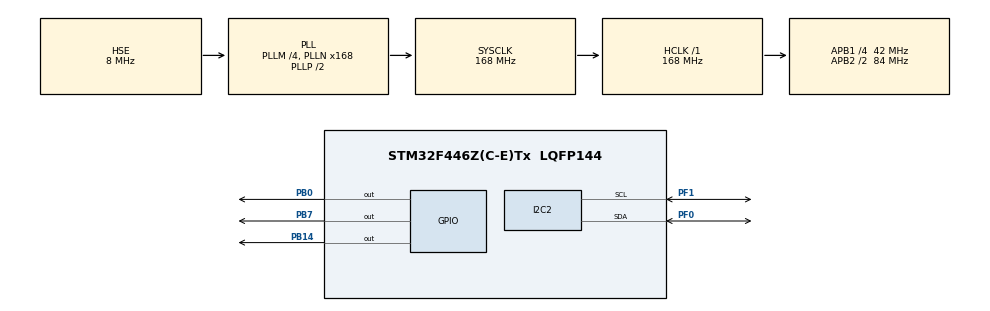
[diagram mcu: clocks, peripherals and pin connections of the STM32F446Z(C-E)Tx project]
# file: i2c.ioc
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I2C2.I2C_Mode=I2C_Standard
Mcu.Family=STM32F4
Mcu.Name=STM32F446Z(C-E)Tx
Mcu.Package=LQFP144
NVIC.PriorityGroup=NVIC_PRIORITYGROUP_4
NVIC.RCC_IRQn=true\:0\:0\:false\:false\:true\:true\:false
PB0.Signal=GPIO_Output
PB14.Signal=GPIO_Output
PB7.Signal=GPIO_Output
PF0.Mode=I2C
PF0.Signal=I2C2_SDA
PF1.Mode=I2C
PF1.Signal=I2C2_SCL
PH0-OSC_IN.Mode=HSE-External-Oscillator
PH0-OSC_IN.Signal=RCC_OSC_IN
PH1-OSC_OUT.Mode=HSE-External-Oscillator
PH1-OSC_OUT.Signal=RCC_OSC_OUT
ProjectManager.HeapSize=0x200
ProjectManager.StackSize=0x400
ProjectManager.TargetToolchain=Makefile
RCC.48MHZClocksFreq_Value=24000000
RCC.AHBFreq_Value=168000000
RCC.APB1CLKDivider=RCC_HCLK_DIV4
RCC.APB1Freq_Value=42000000
RCC.APB1TimFreq_Value=84000000
RCC.APB2CLKDivider=RCC_HCLK_DIV2
RCC.APB2Freq_Value=84000000
RCC.APB2TimFreq_Value=168000000
RCC.CortexFreq_Value=168000000
RCC.HCLKFreq_Value=168000000
RCC.HSE_VALUE=8000000
RCC.HSI_VALUE=16000000
RCC.PLLM=4
RCC.PLLMUL=RCC_PLL_MUL9
RCC.PLLN=168
RCC.PLLQ=7
RCC.PLLSourceVirtual=RCC_PLLSOURCE_HSE
RCC.PRESCALERUSB=RCC_USBCLKSOURCE_PLL_DIV1_5
RCC.SYSCLKFreq_VALUE=168000000
RCC.SYSCLKSource=RCC_SYSCLKSOURCE_PLLCLK
RCC.SYSCLKSourceVirtual=RCC_SYSCLKSOURCE_PLLCLK
RCC.USBFreq_Value=48000000
RCC.VCOOutputFreq_Value=336000000
board=NUCLEO-F446ZE

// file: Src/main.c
/* USER CODE BEGIN Header */
/**
  ******************************************************************************
  * @file           : main.c
  * @brief          : Main program body
  ******************************************************************************
  * @attention
  *
  * <h2><center>&copy; Copyright (c) 2019 STMicroelectronics.
  * All rights reserved.</center></h2>
  *
  * This software component is licensed by ST under BSD 3-Clause license,
  * the "License"; You may not use this file except in compliance with the
  * License. You may obtain a copy of the License at:
  *                        opensource.org/licenses/BSD-3-Clause
  *
  ******************************************************************************
  */
/* USER CODE END Header */

#include "main.h"

I2C_HandleTypeDef hi2c2;

void SystemClock_Config(void);
static void MX_GPIO_Init(void);
static void MX_I2C2_Init(void);

/* USER CODE BEGIN 0 */
uint8_t i2cData[2];
int time = 0;
/* USER CODE END 0 */

int main(void)
{

  /* MCU Configuration--------------------------------------------------------*/

  /* Reset of all peripherals, Initializes the Flash interface and the Systick. */
  HAL_Init();

  /* Configure the system clock */
  SystemClock_Config();

  /* Initialize all configured peripherals */
  MX_GPIO_Init();
  MX_I2C2_Init();
  /* USER CODE BEGIN 2 */

  //checks if the i2c device is ready
  //orient the rtc so you can read the text
  //p1 is at the very left, p5 is at the very right
  //p1>>5v p2>>sdl p3>>scl p5>>gnd
  if(HAL_I2C_IsDeviceReady(&hi2c2,0xD0,2,10)==HAL_OK){
    HAL_GPIO_TogglePin(GPIOB,GPIO_PIN_0);
    HAL_Delay(500);
    HAL_GPIO_TogglePin(GPIOB,GPIO_PIN_7);
    HAL_Delay(500);
    HAL_GPIO_TogglePin(GPIOB,GPIO_PIN_14);
    HAL_Delay(500);
    HAL_GPIO_TogglePin(GPIOB,GPIO_PIN_0);
    HAL_Delay(500);
    HAL_GPIO_TogglePin(GPIOB,GPIO_PIN_7);
    HAL_Delay(500);
    HAL_GPIO_TogglePin(GPIOB,GPIO_PIN_14);
    HAL_Delay(500);
  }
  i2cData[0]=0x00;
  i2cData[1]=0x7F;
  //takes in (i2chandletypedef,slaveaddress,data,lengthofdata,timeout)
  HAL_I2C_Master_Transmit(&hi2c2,0xD0,i2cData,2,10);

  /* USER CODE END 2 */

  /* Infinite loop */
  while (1)
  {

    /* USER CODE BEGIN 3 */

    //read via i2c
    i2cData[0]=0x00;
    HAL_I2C_Master_Transmit(&hi2c2,0xD0,i2cData,1,10);
    HAL_I2C_Master_Receive(&hi2c2,0xD0,&i2cData[1],1,10);
    if(i2cData[1]!=time){
      HAL_GPIO_TogglePin(GPIOB,GPIO_PIN_0);
      HAL_GPIO_TogglePin(GPIOB,GPIO_PIN_7);
      HAL_GPIO_TogglePin(GPIOB,GPIO_PIN_14);
      time = i2cData[1];
    }
    // HAL_GPIO_TogglePin(GPIOB,GPIO_PIN_7);
    // HAL_Delay(500);
    // HAL_GPIO_TogglePin(GPIOB,GPIO_PIN_14);
    // HAL_Delay(500);
  }
  /* USER CODE END 3 */
}

void SystemClock_Config(void)
{
  RCC_OscInitTypeDef RCC_OscInitStruct = {0};
  RCC_ClkInitTypeDef RCC_ClkInitStruct = {0};

  /** Configure the main internal regulator output voltage
  */
  __HAL_RCC_PWR_CLK_ENABLE();
  __HAL_PWR_VOLTAGESCALING_CONFIG(PWR_REGULATOR_VOLTAGE_SCALE1);
  /** Initializes the CPU, AHB and APB busses clocks
  */
  RCC_OscInitStruct.OscillatorType = RCC_OSCILLATORTYPE_HSE;
  RCC_OscInitStruct.HSEState = RCC_HSE_ON;
  RCC_OscInitStruct.PLL.PLLState = RCC_PLL_ON;
  RCC_OscInitStruct.PLL.PLLSource = RCC_PLLSOURCE_HSE;
  RCC_OscInitStruct.PLL.PLLM = 4;
  RCC_OscInitStruct.PLL.PLLN = 168;
  RCC_OscInitStruct.PLL.PLLP = RCC_PLLP_DIV2;
  RCC_OscInitStruct.PLL.PLLQ = 7;
  RCC_OscInitStruct.PLL.PLLR = 2;
  if (HAL_RCC_OscConfig(&RCC_OscInitStruct) != HAL_OK)
  {
    Error_Handler();
  }
  /** Initializes the CPU, AHB and APB busses clocks
  */
  RCC_ClkInitStruct.ClockType = RCC_CLOCKTYPE_HCLK|RCC_CLOCKTYPE_SYSCLK
                              |RCC_CLOCKTYPE_PCLK1|RCC_CLOCKTYPE_PCLK2;
  RCC_ClkInitStruct.SYSCLKSource = RCC_SYSCLKSOURCE_PLLCLK;
  RCC_ClkInitStruct.AHBCLKDivider = RCC_SYSCLK_DIV1;
  RCC_ClkInitStruct.APB1CLKDivider = RCC_HCLK_DIV4;
  RCC_ClkInitStruct.APB2CLKDivider = RCC_HCLK_DIV2;

  if (HAL_RCC_ClockConfig(&RCC_ClkInitStruct, FLASH_LATENCY_5) != HAL_OK)
  {
    Error_Handler();
  }
}

static void MX_I2C2_Init(void)
{

  hi2c2.Instance = I2C2;
  hi2c2.Init.ClockSpeed = 100000;
  hi2c2.Init.DutyCycle = I2C_DUTYCYCLE_2;
  hi2c2.Init.OwnAddress1 = 0;
  hi2c2.Init.AddressingMode = I2C_ADDRESSINGMODE_7BIT;
  hi2c2.Init.DualAddressMode = I2C_DUALADDRESS_DISABLE;
  hi2c2.Init.OwnAddress2 = 0;
  hi2c2.Init.GeneralCallMode = I2C_GENERALCALL_DISABLE;
  hi2c2.Init.NoStretchMode = I2C_NOSTRETCH_DISABLE;
  if (HAL_I2C_Init(&hi2c2) != HAL_OK)
  {
    Error_Handler();
  }

}

static void MX_GPIO_Init(void)
{
  GPIO_InitTypeDef GPIO_InitStruct = {0};

  /* GPIO Ports Clock Enable */
  __HAL_RCC_GPIOF_CLK_ENABLE();
  __HAL_RCC_GPIOH_CLK_ENABLE();
  __HAL_RCC_GPIOB_CLK_ENABLE();

  /*Configure GPIO pin Output Level */
  HAL_GPIO_WritePin(GPIOB, GPIO_PIN_0|GPIO_PIN_14|GPIO_PIN_7, GPIO_PIN_RESET);

  /*Configure GPIO pins : PB0 PB14 PB7 */
  GPIO_InitStruct.Pin = GPIO_PIN_0|GPIO_PIN_14|GPIO_PIN_7;
  GPIO_InitStruct.Mode = GPIO_MODE_OUTPUT_PP;
  GPIO_InitStruct.Pull = GPIO_NOPULL;
  GPIO_InitStruct.Speed = GPIO_SPEED_FREQ_LOW;
  HAL_GPIO_Init(GPIOB, &GPIO_InitStruct);

}

void Error_Handler(void)
{
}

/************************ (C) COPYRIGHT STMicroelectronics *****END OF FILE****/
